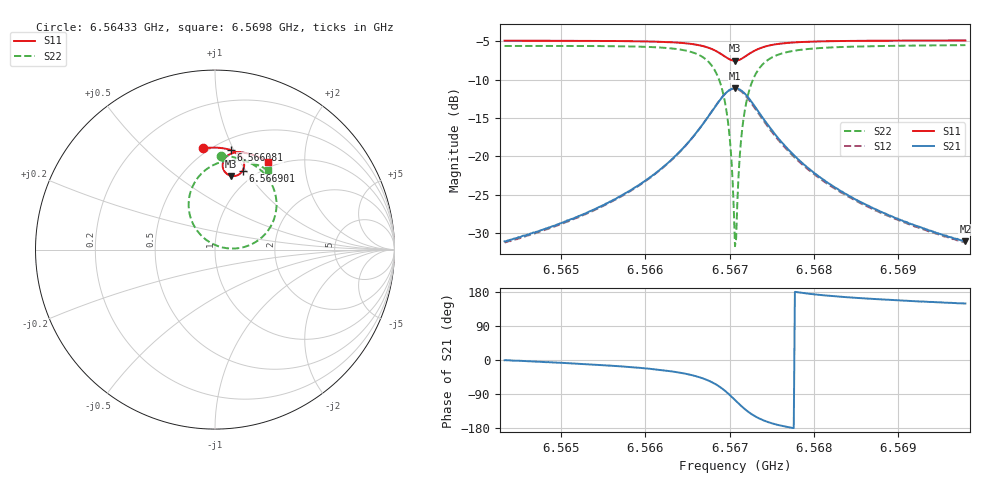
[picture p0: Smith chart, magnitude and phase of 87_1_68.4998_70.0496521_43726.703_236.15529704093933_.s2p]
#  HZ  S  RI  R  50.00
! Rohde & Schwarz Vector Network Analyzer
! Rohde-Schwarz,ZNB20-2Port,1311601062101988,3.16
! Created: UTC 3/20/2024, 5:07:38 PM
! freq[Hz]  re:S11  im:S11  re:S21  im:S21  re:S12  im:S12  re:S22  im:S22
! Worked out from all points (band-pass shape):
!   401 points, 6.56433 GHz to 6.5698 GHz, reference 50 ohm
!   highest |S21| = -11.09 dB at 6.567065 GHz (marker M1); lowest = -31.1 dB at 6.5698 GHz (marker M2)
!   |S21| within 3 dB of the highest: 6.566793 GHz to 6.567339 GHz (546 kHz wide, 0.00831 % of centre)
!   lowest |S11| = -7.5 dB at 6.567065 GHz (marker M3), VSWR 2.45, Z = 41.3 + j41.2 ohm
!   |S11| at or under -10 dB: nowhere
!   |S22| runs from -31.7 to -5.5 dB; largest |S21 - S12| = 0.013
!   S11 on the Smith chart (normalised r, x): 6.56433 GHz: 0.47, +0.78; 6.566081 GHz: 0.60, +0.97; 6.566901 GHz: 0.86, +0.97; 6.5698 GHz: 0.92, +1.33
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6.5643304e9  -0.0649 0.5654  0.0279 -0.000343  0.0273 -0.000712  0.0347 0.5243
6.5652465e9  0.01 0.5677  0.0409 -0.00747  0.0402 -0.00811  0.121 0.5112
6.5660806e9  0.0874 0.5548  0.0683 -0.0301  0.0672 -0.0309  0.2282 0.4634
6.5661627e9  0.0961 0.5516  0.0729 -0.0351  0.0717 -0.036  0.2421 0.4535
6.5664635e9  0.1306 0.5324  0.0938 -0.0671  0.0923 -0.0686  0.3008 0.39
6.5666823e9  0.1559 0.5014  0.1075 -0.1211  0.1051 -0.1234  0.3405 0.2861
6.5668053e9  0.1625 0.4705  0.1002 -0.1753  0.096 -0.1786  0.333 0.183
6.566901e9  0.1537 0.4392  0.0679 -0.229  0.0605 -0.232  0.2755 0.0822
6.5669831e9  0.1285 0.4158  0.00785 -0.2668  -0.00288 -0.2669  0.1654 0.0152
6.5670104e9  0.1163 0.4113  -0.0185 -0.2726  -0.0301 -0.271  0.1176 0.00647
6.5670514e9  0.0965 0.4099  -0.0609 -0.2717  -0.0725 -0.267  0.0423 0.0118
6.5670651e9  0.0898 0.4109  -0.075 -0.2686  -0.0863 -0.2629  0.0178 0.0189
6.5670788e9  0.0834 0.4127  -0.0886 -0.264  -0.0996 -0.2573  -0.0058 0.0285
6.5670925e9  0.0771 0.4153  -0.1018 -0.2583  -0.1121 -0.2506  -0.0282 0.0404
6.5671335e9  0.0607 0.4266  -0.1358 -0.234  -0.1442 -0.2243  -0.0846 0.087
6.5671745e9  0.0497 0.4415  -0.1603 -0.2037  -0.166 -0.1926  -0.1226 0.1436
6.5672292e9  0.0428 0.4631  -0.1776 -0.1608  -0.1797 -0.15  -0.1452 0.2205
6.5672976e9  0.0451 0.4875  -0.1801 -0.1136  -0.1793 -0.1043  -0.1412 0.303
6.5675437e9  0.0835 0.532  -0.1364 -0.0251  -0.1334 -0.021  -0.0428 0.4511
6.5679812e9  0.1442 0.5423  -0.0795 0.00856  -0.0776 0.00982  0.0873 0.4973
6.5688974e9  0.2291 0.5211  -0.0383 0.0149  -0.0377 0.0153  0.2173 0.479
6.5697998e9  0.2954 0.4884  -0.0239 0.0143  -0.0234 0.0144  0.2956 0.4424
